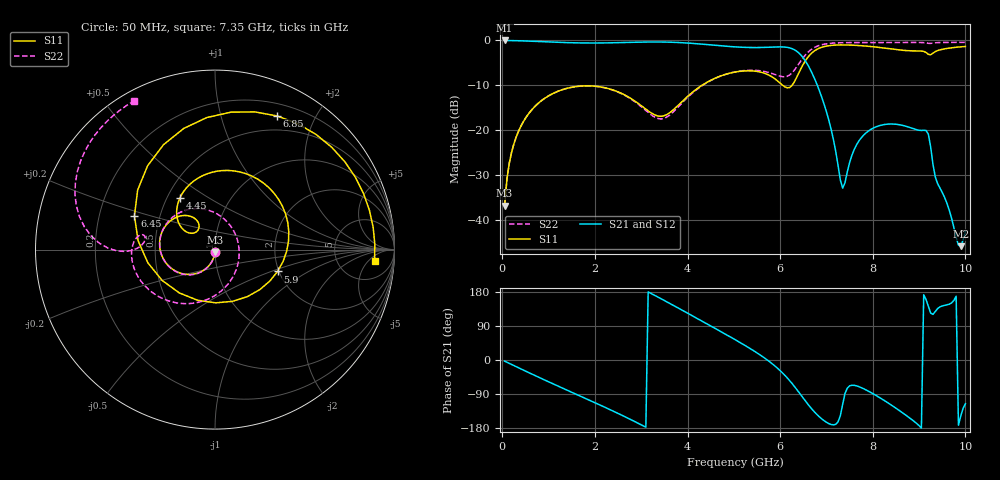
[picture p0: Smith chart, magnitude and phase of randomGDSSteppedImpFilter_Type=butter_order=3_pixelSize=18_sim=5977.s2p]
! freq	dB(S11)	phase(S11)	dB(S12)	phase(S12)
!  dB(S21)	phase(S21)	dB(S22)	phase(S22)
!S-par simulation data
#  GHz  S  DB  R 50
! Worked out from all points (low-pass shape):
!   200 points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, 50 MHz to 10 GHz, reference 50 ohm
!   highest |S21| = -0.01 dB at 50 MHz (marker M1); lowest = -45.8 dB at 9.9 GHz (marker M2)
!   |S21| within 3 dB of the highest: start of sweep to 6.424 GHz
!   lowest |S11| = -36.8 dB at 50 MHz (marker M3), VSWR 1.03, Z = 49.9 - j1.44 ohm
!   |S11| at or under -10 dB: start of sweep to 4.311 GHz; 6.056 GHz to 6.256 GHz (200.3 MHz wide, 3.25 % of centre)
!   |S22| runs from -36.8 to -0.4 dB; largest |S21 - S12| = 0
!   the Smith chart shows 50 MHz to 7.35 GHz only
!   S11 on the Smith chart (normalised r, x): 50 MHz: 1.00, -0.03; 4.45 GHz: 0.58, +0.38; 5.9 GHz: 1.97, -0.55; 6.45 GHz: 0.36, +0.18; 6.85 GHz: 0.33, +1.52; 7.35 GHz: 13, -8
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0.05  -36.83 -92.6  -0.01 -3.0  -0.01 -3.0  -36.83 -92.5
0.2  -24.94 -102.1  -0.03 -11.8  -0.03 -11.8  -24.94 -101.8
0.5  -17.33 -120.0  -0.12 -29.2  -0.12 -29.2  -17.33 -119.4
1.75  -10.13 171.2  -0.56 -98.9  -0.56 -98.9  -10.13 170.0
2.7  -12.45 127.9  -0.45 -152.7  -0.45 -152.7  -12.55 106.5
3.4  -16.89 133.2  -0.35 163.6  -0.35 163.6  -17.46 13.1
4.45  -9.15 124.0  -0.95 93.3  -0.95 93.3  -9.22 -119.5
5.05  -7.00 80.8  -1.45 52.1  -1.45 52.1  -6.96 -157.2
5.9  -8.65 -19.3  -1.45 -17.1  -1.45 -17.1  -7.63 168.4
6.2  -10.50 -108.9  -1.65 -53.6  -1.65 -53.6  -7.74 176.7
6.45  -6.25 157.2  -3.28 -92.7  -3.28 -92.7  -4.50 179.2
6.7  -2.65 93.5  -7.53 -131.6  -7.53 -131.6  -1.81 162.3
6.85  -1.71 65.0  -11.27 -150.3  -11.27 -150.3  -1.09 150.5
7.1  -1.11 27.2  -19.76 -170.2  -19.76 -170.2  -0.63 133.1
7.35  -1.00 -3.9  -32.90 -116.8  -32.90 -116.8  -0.51 118.6
7.9  -1.30 -66.4  -20.22 -81.8  -20.22 -81.8  -0.48 92.0
8.35  -1.84 -123.4  -18.62 -114.9  -18.62 -114.9  -0.47 72.7
8.75  -2.28 175.2  -19.22 -148.8  -19.22 -148.8  -0.46 56.5
9.1  -2.45 115.1  -20.01 172.2  -20.01 172.2  -0.49 42.4
9.45  -2.10 70.2  -32.88 140.2  -32.88 140.2  -0.47 30.7
9.9  -1.42 18.4  -45.82 -147.8  -45.82 -147.8  -0.43 14.2
10  -1.35 9.0  -42.60 -115.4  -42.60 -115.4  -0.43 10.7
